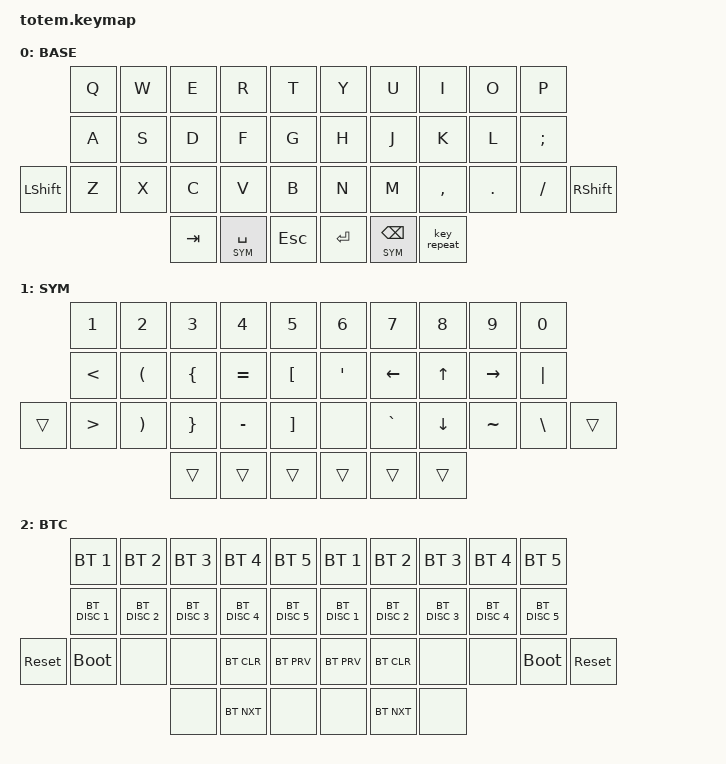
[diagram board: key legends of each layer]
//
//                                                        ▀▀▀▀▀     ▀▀▀▀▀          ▀▀█▀▀
//                                                        ▄▀▀▀▄  ▄  ▄▀▀▀▄  ▄  ▄▀▀▀▄  █  ▄▀▀▀▄
//                                                        █   █  █  █   █  █  █   █  █  █   █
//                                                         ▀▀▀   █   ▀▀▀   █   ▀▀▀   ▀   ▀▀▀
//                                                               █      ▄▄▄█▄▄▄    █   █  
//                                                               ▀      █  █  █     █▄█
//                                                             ▀▀▀▀▀    █  █  █      ▀
//                                                                      ▀  ▀  ▀
//
// ▄▄▄▄▄▄▄▄▄▄▄▄▄▄▄▄▄▄▄▄▄▄▄▄▄▄▄▄▄▄▄▄▄▄▄▄▄▄▄▄▄▄▄▄▄▄▄▄▄▄▄▄▄▄▄▄▄▄▄▄▄▄▄▄▄▄▄▄▄▄▄▄▄▄▄▄▄▄▄▄▄▄▄▄▄▄▄▄▄▄▄▄▄▄▄▄▄▄▄▄▄▄▄▄▄▄▄▄▄▄▄▄▄▄▄▄▄▄▄▄▄▄▄▄▄▄▄▄▄▄▄▄▄▄▄▄▄▄▄▄▄▄▄▄▄▄▄▄▄
       

#include <behaviors.dtsi>
#include <dt-bindings/zmk/keys.h>
#include <dt-bindings/zmk/bt.h>
#include <dt-bindings/zmk/outputs.h>

#define BASE 0
#define SYM  1
#define BTC  2

&mt {
  quick-tap-ms = <100>;
  global-quick-tap;
  flavor = "tap-preferred";
  tapping-term-ms = <170>;
};

/ {
     combos {
            compatible = "zmk,combos";
            combo_btc_left {
                timeout-ms = <50>;
                key-positions = <32 34>;
                bindings = <&mo 2>;
            };
            combo_btc_right {
                timeout-ms = <50>;
                key-positions = <35 37>;
                bindings = <&mo 2>;
            };
    };

        keymap {
                compatible = "zmk,keymap";
// ▄▄▄▄▄▄▄▄▄▄▄▄▄▄▄▄▄▄▄▄▄▄▄▄▄▄▄▄▄▄▄▄▄▄▄▄▄▄▄▄▄▄▄▄▄▄▄▄▄▄▄▄▄▄▄▄▄▄▄▄▄▄▄▄▄▄▄▄▄▄▄▄▄▄▄▄▄▄▄▄▄▄▄▄▄▄▄▄▄▄▄▄▄▄▄▄▄▄▄▄▄▄▄▄▄▄▄▄▄▄▄▄▄▄▄▄▄▄▄▄▄▄▄▄▄▄▄▄▄▄▄▄▄▄▄▄▄▄▄▄▄▄▄▄▄▄▄▄▄

                base_layer {
// ┏━━━━━━━━━━━━━━━━━━━━━━━━━━━━━━━━━━━━━━━┓
label= "BASE"                              ;
// ┗━━━━━━━━━━━━━━━━━━━━━━━━━━━━━━━━━━━━━━━┛
//             ┏━━━━━━━━━━━┳━━━━━━━━━━━┳━━━━━━━━━━━┳━━━━━━━━━━━┳━━━━━━━━━━━┓   ┏━━━━━━━━━━━┳━━━━━━━━━━━┳━━━━━━━━━━━┳━━━━━━━━━━━┳━━━━━━━━━━━┓
//             ┃     Q     ┃     W     ┃     E     ┃     R     ┃     T     ┃   ┃     Y     ┃     U     ┃     I     ┃     O     ┃     P     ┃
//             ┣━━━━━━━━━━━╋━━━━━━━━━━━╋━━━━━━━━━━━╋━━━━━━━━━━━╋━━━━━━━━━━━┫   ┣━━━━━━━━━━━╋━━━━━━━━━━━╋━━━━━━━━━━━╋━━━━━━━━━━━╋━━━━━━━━━━━┫
//             ┃     A     ┃     S     ┃     D     ┃     F     ┃     G     ┃   ┃     H     ┃     J     ┃     K     ┃     L     ┃    ; :    ┃
// ┏━━━━━━━━━━━╋━━━━━━━━━━━╋━━━━━━━━━━━╋━━━━━━━━━━━╋━━━━━━━━━━━╋━━━━━━━━━━━┫   ┣━━━━━━━━━━━╋━━━━━━━━━━━╋━━━━━━━━━━━╋━━━━━━━━━━━╋━━━━━━━━━━━╋━━━━━━━━━━━┓
// ┃   SHIFT   ┃     Z     ┃     X     ┃     C     ┃     V     ┃     B     ┃   ┃     N     ┃     M     ┃    , <    ┃    . >    ┃    / ?    ┃   SHIFT   ┃
// ┗━━━━━━━━━━━┻━━━━━━━━━━━┻━━━━━━━━━━━╋━━━━━━━━━━━╋━━━━━━━━━━━╋━━━━━━━━━━━┫   ┣━━━━━━━━━━━╋━━━━━━━━━━━╋━━━━━━━━━━━╋━━━━━━━━━━━┻━━━━━━━━━━━┻━━━━━━━━━━━┛
//                                     ┃    TAB    ┃ SPC  SYM  ┃    ESC    ┃   ┃   ENTER   ┃ BSPC  SYM ┃  repeat   ┃
//                                     ┗━━━━━━━━━━━┻━━━━━━━━━━━┻━━━━━━━━━━━┛   ┗━━━━━━━━━━━┻━━━━━━━━━━━┻━━━━━━━━━━━┛
 bindings = <
// ╷           ╷           ╷           ╷           ╷           ╷           ╷   ╷           ╷           ╷           ╷           ╷           ╷           ╷

                &kp Q       &kp W       &kp E       &kp R       &kp T           &kp Y       &kp U       &kp I       &kp O       &kp P
                &kp A       &kp S       &kp D       &kp F       &kp G           &kp H       &kp J       &kp K       &kp L       &kp SEMI
    &kp LSHFT   &kp Z       &kp X       &kp C       &kp V       &kp B           &kp N       &kp M       &kp COMMA   &kp DOT     &kp FSLH    &kp RSHFT
                                        &kp TAB  &lt SYM SPACE  &kp ESC         &kp RET   &lt SYM BSPC  &key_repeat
                        >;
                };

// ▄▄▄▄▄▄▄▄▄▄▄▄▄▄▄▄▄▄▄▄▄▄▄▄▄▄▄▄▄▄▄▄▄▄▄▄▄▄▄▄▄▄▄▄▄▄▄▄▄▄▄▄▄▄▄▄▄▄▄▄▄▄▄▄▄▄▄▄▄▄▄▄▄▄▄▄▄▄▄▄▄▄▄▄▄▄▄▄▄▄▄▄▄▄▄▄▄▄▄▄▄▄▄▄▄▄▄▄▄▄▄▄▄▄▄▄▄▄▄▄▄▄▄▄▄▄▄▄▄▄▄▄▄▄▄▄▄▄▄▄▄▄▄▄▄▄▄▄▄


                sym_layer {
// ┏━━━━━━━━━━━━━━━━━━━━━━━━━━━━━━━━━━━━━━━┓
label= "SYM"                              ;
// ┗━━━━━━━━━━━━━━━━━━━━━━━━━━━━━━━━━━━━━━━┛
//             ┏━━━━━━━━━━━┳━━━━━━━━━━━┳━━━━━━━━━━━┳━━━━━━━━━━━┳━━━━━━━━━━━┓   ┏━━━━━━━━━━━┳━━━━━━━━━━━┳━━━━━━━━━━━┳━━━━━━━━━━━┳━━━━━━━━━━━┓
//             ┃    1 !    ┃    2 @    ┃    3 #    ┃    4 $    ┃    5 %    ┃   ┃    6 ^    ┃    7 &    ┃    8 *    ┃    9 (    ┃    0 )    ┃
//             ┣━━━━━━━━━━━╋━━━━━━━━━━━╋━━━━━━━━━━━╋━━━━━━━━━━━╋━━━━━━━━━━━┫   ┣━━━━━━━━━━━╋━━━━━━━━━━━╋━━━━━━━━━━━╋━━━━━━━━━━━╋━━━━━━━━━━━┫
//             ┃     <     ┃     (     ┃     {     ┃    = +    ┃     [     ┃   ┃    ' "    ┃   LEFT    ┃     UP    ┃   RIGHT   ┃     |     ┃
// ┏━━━━━━━━━━━╋━━━━━━━━━━━╋━━━━━━━━━━━╋━━━━━━━━━━━╋━━━━━━━━━━━╋━━━━━━━━━━━┫   ┣━━━━━━━━━━━╋━━━━━━━━━━━╋━━━━━━━━━━━╋━━━━━━━━━━━╋━━━━━━━━━━━╋━━━━━━━━━━━┓
// ┃   SHIFT   ┃     >     ┃     )     ┃     }     ┃    - _    ┃     ]     ┃   ┃           ┃    ` ~    ┃    DOWN   ┃     ~     ┃    \ |    ┃   SHIFT   ┃
// ┗━━━━━━━━━━━┻━━━━━━━━━━━┻━━━━━━━━━━━╋━━━━━━━━━━━╋━━━━━━━━━━━╋━━━━━━━━━━━┫   ┣━━━━━━━━━━━╋━━━━━━━━━━━╋━━━━━━━━━━━╋━━━━━━━━━━━┻━━━━━━━━━━━┻━━━━━━━━━━━┛
//                                     ┃    TAB    ┃ SPC  SYM  ┃    ESC    ┃   ┃   ENTER   ┃ BSPC  SYM ┃  repeat   ┃
//                                     ┗━━━━━━━━━━━┻━━━━━━━━━━━┻━━━━━━━━━━━┛   ┗━━━━━━━━━━━┻━━━━━━━━━━━┻━━━━━━━━━━━┛
 bindings = <
// ╷           ╷           ╷           ╷           ╷           ╷           ╷   ╷           ╷           ╷           ╷           ╷           ╷           ╷

                &kp N1      &kp N2      &kp N3      &kp N4      &kp N5          &kp N6      &kp N7      &kp N8      &kp N9      &kp N0
                &kp LT      &kp LPAR    &kp LBRC    &kp EQUAL   &kp LBKT        &kp APOS    &kp LEFT    &kp UP      &kp RIGHT   &kp PIPE
    &trans      &kp GT      &kp RPAR    &kp RBRC    &kp MINUS   &kp RBKT        &none       &kp GRAVE   &kp DOWN    &kp TILDE   &kp BSLH    &trans
                                        &trans      &trans      &trans          &trans      &trans      &trans
                        >;
                };

// ▄▄▄▄▄▄▄▄▄▄▄▄▄▄▄▄▄▄▄▄▄▄▄▄▄▄▄▄▄▄▄▄▄▄▄▄▄▄▄▄▄▄▄▄▄▄▄▄▄▄▄▄▄▄▄▄▄▄▄▄▄▄▄▄▄▄▄▄▄▄▄▄▄▄▄▄▄▄▄▄▄▄▄▄▄▄▄▄▄▄▄▄▄▄▄▄▄▄▄▄▄▄▄▄▄▄▄▄▄▄▄▄▄▄▄▄▄▄▄▄▄▄▄▄▄▄▄▄▄▄▄▄▄▄▄▄▄▄▄▄▄▄▄▄▄▄▄▄▄


                btc_layer {
// ┏━━━━━━━━━━━━━━━━━━━━━━━━━━━━━━━━━━━━━━━┓
label= "BTC"                               ;
// ┗━━━━━━━━━━━━━━━━━━━━━━━━━━━━━━━━━━━━━━━┛
//             ┏━━━━━━━━━━━┳━━━━━━━━━━━┳━━━━━━━━━━━┳━━━━━━━━━━━┳━━━━━━━━━━━┓   ┏━━━━━━━━━━━┳━━━━━━━━━━━┳━━━━━━━━━━━┳━━━━━━━━━━━┳━━━━━━━━━━━┓
//             ┃ BT_SEL 1  ┃ BT_SEL 2  ┃ BT_SEL 3  ┃ BT_SEL 4  ┃ BT_SEL 5  ┃   ┃ BT_SEL 1  ┃ BT_SEL 2  ┃ BT_SEL 3  ┃ BT_SEL 4  ┃ BT_SEL 5  ┃
//             ┣━━━━━━━━━━━╋━━━━━━━━━━━╋━━━━━━━━━━━╋━━━━━━━━━━━╋━━━━━━━━━━━┫   ┣━━━━━━━━━━━╋━━━━━━━━━━━╋━━━━━━━━━━━╋━━━━━━━━━━━╋━━━━━━━━━━━┫
//             ┃ BT_DISC 1 ┃ BT_DISC 2 ┃ BT_DISC 3 ┃ BT_DISC 4 ┃ BT_DISC 5 ┃   ┃ BT_DISC 1 ┃ BT_DISC 2 ┃ BT_DISC 3 ┃ BT_DISC 4 ┃ BT_DISC 5 ┃
// ┏━━━━━━━━━━━╋━━━━━━━━━━━╋━━━━━━━━━━━╋━━━━━━━━━━━╋━━━━━━━━━━━╋━━━━━━━━━━━┫   ┣━━━━━━━━━━━╋━━━━━━━━━━━╋━━━━━━━━━━━╋━━━━━━━━━━━╋━━━━━━━━━━━╋━━━━━━━━━━━┓
// ┃ SYS RESET ┃ BOOT LDR  ┃           ┃           ┃ BT_CLR    ┃ BT PREV   ┃   ┃ BT PREV   ┃ BT_CLR    ┃           ┃           ┃ BOOT LDR  ┃ SYS RESET ┃
// ┗━━━━━━━━━━━┻━━━━━━━━━━━┻━━━━━━━━━━━╋━━━━━━━━━━━╋━━━━━━━━━━━╋━━━━━━━━━━━┫   ┣━━━━━━━━━━━╋━━━━━━━━━━━╋━━━━━━━━━━━╋━━━━━━━━━━━┻━━━━━━━━━━━┻━━━━━━━━━━━┛
//                                     ┃           ┃ BT NEXT   ┃           ┃   ┃           ┃ BT NEXT   ┃           ┃
//                                     ┗━━━━━━━━━━━┻━━━━━━━━━━━┻━━━━━━━━━━━┛   ┗━━━━━━━━━━━┻━━━━━━━━━━━┻━━━━━━━━━━━┛
 bindings = <
// ╷           ╷           ╷           ╷           ╷           ╷           ╷   ╷           ╷           ╷           ╷           ╷           ╷           ╷

           &bt BT_SEL 1 &bt BT_SEL 2 &bt BT_SEL 3 &bt BT_SEL 4 &bt BT_SEL 5     &bt BT_SEL 1 &bt BT_SEL 2 &bt BT_SEL 3 &bt BT_SEL 4 &bt BT_SEL 5
         &bt BT_DISC 1 &bt BT_DISC 2 &bt BT_DISC 3 &bt BT_DISC 4 &bt BT_DISC 5  &bt BT_DISC 1 &bt BT_DISC 2 &bt BT_DISC 3 &bt BT_DISC 4 &bt BT_DISC 5
    &sys_reset  &bootloader  &none       &none      &bt BT_CLR  &bt BT_PRV      &bt BT_PRV  &bt BT_CLR  &none       &none       &bootloader  &sys_reset
                                         &none      &bt BT_NXT  &none           &none       &bt BT_NXT  &none
                        >;
                };
// ▄▄▄▄▄▄▄▄▄▄▄▄▄▄▄▄▄▄▄▄▄▄▄▄▄▄▄▄▄▄▄▄▄▄▄▄▄▄▄▄▄▄▄▄▄▄▄▄▄▄▄▄▄▄▄▄▄▄▄▄▄▄▄▄▄▄▄▄▄▄▄▄▄▄▄▄▄▄▄▄▄▄▄▄▄▄▄▄▄▄▄▄▄▄▄▄▄▄▄▄▄▄▄▄▄▄▄▄▄▄▄▄▄▄▄▄▄▄▄▄▄▄▄▄▄▄▄▄▄▄▄▄▄▄▄▄▄▄▄▄▄▄▄▄▄▄▄▄▄
        };
};
